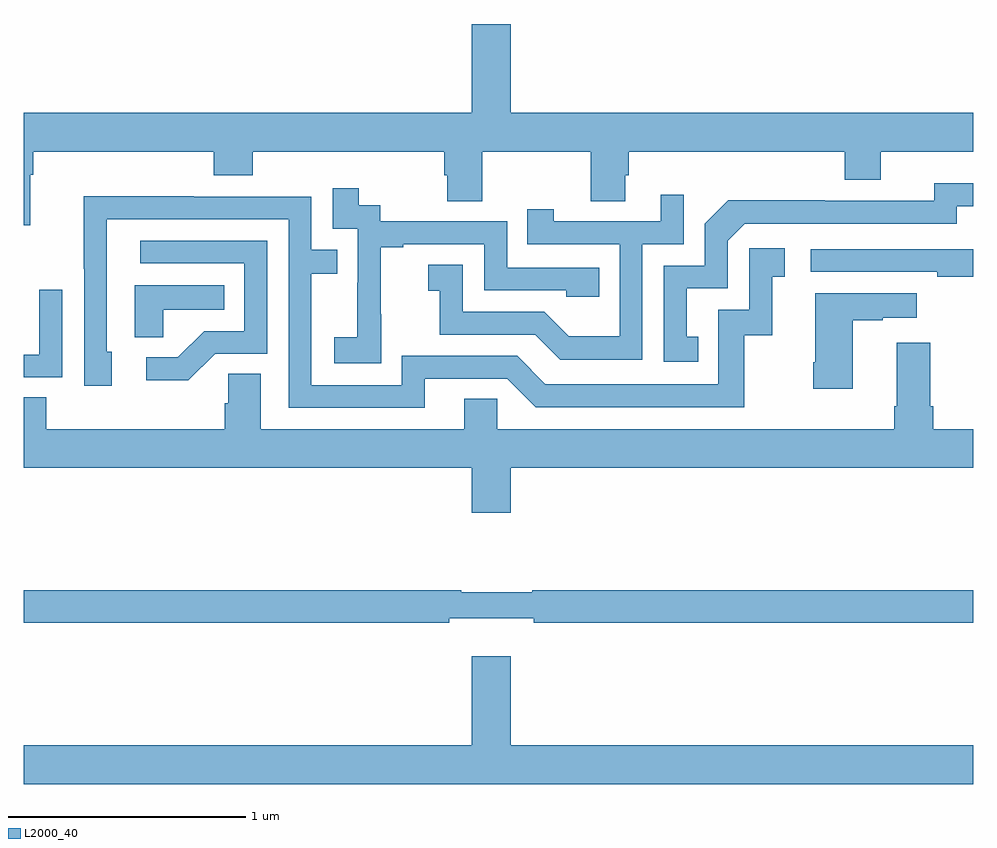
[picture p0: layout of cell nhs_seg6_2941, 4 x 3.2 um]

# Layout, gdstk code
import gdstk
lib = gdstk.Library(unit=1e-6, precision=1e-09)
def P(c, l, *ps):  # polygons
    for p in ps: c.add(gdstk.Polygon(p, *l))
L2000_40 = (2000, 40)

nhs_seg6_2941 = lib.new_cell('nhs_seg6_2941')
P(nhs_seg6_2941, L2000_40, [(283.027,996.524),(283.04,996.524),(283.04,996.62),(283.799,996.62),(283.799,996.521),(283.964,996.521),(283.964,996.62),(284.771,996.62),(284.771,996.522),(284.783,996.522),(284.783,996.412),(284.931,996.412),(284.931,996.62),(285.388,996.62),(285.388,996.412),(285.535,996.412),(285.535,996.522),(285.548,996.522),(285.548,996.62),(286.46,996.62),(286.46,996.503),(286.612,996.503),(286.612,996.62),(287,996.62),(287,996.784),(285.052,996.784),(285.052,997.159),(284.888,997.159),(284.888,996.784),(283,996.784),(283,996.311),(283.027,996.311)],
  [(285.842,995.841),(285.793,995.841),(285.793,996.045),(285.966,996.045),(285.966,996.246),(286.038,996.318),(286.932,996.318),(286.932,996.39),(287,996.39),(287,996.487),(286.836,996.487),(286.836,996.414),(286.376,996.414),(286.376,996.416),(285.968,996.416),(285.87,996.318),(285.87,996.141),(285.696,996.141),(285.696,995.736),(285.842,995.736)],
  [(284.505,995.935),(284.504,995.935),(284.504,996.219),(284.599,996.219),(284.599,996.231),(284.94,996.231),(284.94,996.036),(285.285,996.036),(285.285,996.009),(285.425,996.009),(285.425,996.132),(285.036,996.132),(285.036,996.327),(284.502,996.327),(284.502,996.396),(284.41,996.396),(284.41,996.466),(284.301,996.466),(284.301,996.297),(284.406,996.297),(284.406,996.068),(284.405,996.068),(284.405,995.839),(284.307,995.839),(284.307,995.729),(284.505,995.729)],
  [(285.606,996.231),(285.78,996.231),(285.78,996.439),(285.683,996.439),(285.683,996.327),(285.232,996.327),(285.232,996.379),(285.121,996.379),(285.121,996.231),(285.51,996.231),(285.51,995.842),(285.296,995.842),(285.192,995.946),(284.85,995.946),(284.85,996.145),(284.703,996.145),(284.703,996.035),(284.752,996.035),(284.752,995.85),(285.155,995.85),(285.26,995.745),(285.606,995.745)],
  [(284.689,995.664),(285.036,995.664),(285.156,995.544),(286.036,995.544),(286.036,995.847),(286.154,995.847),(286.154,996.093),(286.207,996.093),(286.207,996.214),(286.056,996.214),(286.056,995.955),(285.927,995.955),(285.927,995.64),(285.198,995.64),(285.078,995.76),(284.592,995.76),(284.592,995.637),(284.211,995.637),(284.211,996.106),(284.321,996.106),(284.321,996.207),(284.211,996.207),(284.211,996.432),(283.715,996.432),(283.715,996.434),(283.252,996.434),(283.252,996.127),(283.254,996.127),(283.254,995.634),(283.369,995.634),(283.369,995.778),(283.35,995.778),(283.35,996.336),(284.115,996.336),(284.115,995.541),(284.689,995.541)],
  [(283.806,995.769),(284.025,995.769),(284.025,996.246),(283.491,996.246),(283.491,996.15),(283.929,996.15),(283.929,995.865),(283.76,995.865),(283.649,995.754),(283.515,995.754),(283.515,995.657),(283.693,995.657)],
  [(287,996.21),(286.317,996.21),(286.317,996.114),(286.849,996.114),(286.849,996.094),(287,996.094)],
  [(283.587,995.954),(283.844,995.954),(283.844,996.058),(283.466,996.058),(283.466,995.839),(283.587,995.839)],
  [(283.161,996.04),(283.065,996.04),(283.065,995.766),(283,995.766),(283,995.67),(283.161,995.67)],
  [(286.492,995.911),(286.619,995.911),(286.619,995.921),(286.762,995.921),(286.762,996.025),(286.334,996.025),(286.334,995.734),(286.327,995.734),(286.327,995.622),(286.492,995.622)],
  [(285.052,995.288),(287,995.288),(287,995.452),(286.832,995.452),(286.832,995.548),(286.819,995.548),(286.819,995.815),(286.679,995.815),(286.679,995.548),(286.667,995.548),(286.667,995.452),(284.994,995.452),(284.994,995.579),(284.855,995.579),(284.855,995.452),(283.999,995.452),(283.999,995.684),(283.86,995.684),(283.86,995.561),(283.847,995.561),(283.847,995.452),(283.094,995.452),(283.094,995.585),(283,995.585),(283,995.288),(284.888,995.288),(284.888,995.1),(285.052,995.1)],
  [(284.792,994.655),(285.148,994.655),(285.148,994.636),(287,994.636),(287,994.772),(285.143,994.772),(285.143,994.765),(284.843,994.765),(284.843,994.772),(283,994.772),(283,994.636),(284.792,994.636)],
  [(287,994.12),(285.052,994.12),(285.052,994.495),(284.888,994.495),(284.888,994.12),(283,994.12),(283,993.956),(287,993.956)])

lib.write_gds('nhs_seg6_2941.gds')
